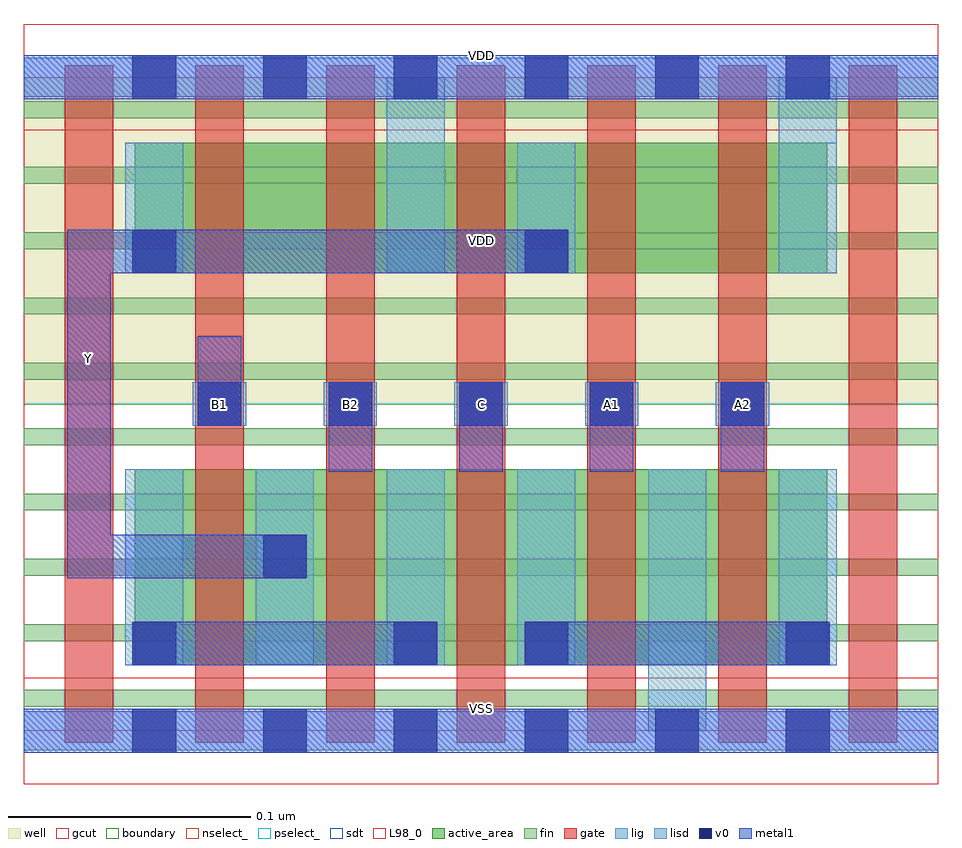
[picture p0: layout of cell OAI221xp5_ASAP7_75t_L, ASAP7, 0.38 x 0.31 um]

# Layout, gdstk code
import gdstk
lib = gdstk.Library(unit=1e-6, precision=2.5e-10)
def R(c, l, rs):  # rectangles x0, y0, x1, y1
    for r in rs: c.add(gdstk.rectangle(r[:2], r[2:], *l))
def A(c, l, x, y, w, h, nx, ny, dx, dy):  # array of equal rectangles
    R(c, l, [(x+i*dx, y+j*dy, x+i*dx+w, y+j*dy+h) for i in range(nx) for j in range(ny)])
def P(c, l, *ps):  # polygons
    for p in ps: c.add(gdstk.Polygon(p, *l))
well = (1, 0)
fin = (2, 0)
gate = (7, 0)
gcut = (10, 0)
active_area = (11, 0)
nselect_ = (12, 0)
pselect_ = (13, 0)
lig = (16, 0)
lisd = (17, 0)
v0 = (18, 0)
metal1 = (19, 0)
sdt = (88, 0)
L98_0 = (98, 0)
boundary = (100, 0)

oai221xp5_asap7_75t_l = lib.new_cell('OAI221xp5_ASAP7_75t_L')
R(oai221xp5_asap7_75t_l, well, [(0,0.135,0.378,0.27)])
A(oai221xp5_asap7_75t_l, fin, 0, 0.01, 0.378, 0.007, 1, 10, 0, 0.027)
A(oai221xp5_asap7_75t_l, gate, 0.017, -0.005, 0.02, 0.28, 7, 1, 0.054, 0)
R(oai221xp5_asap7_75t_l, gcut, [(0,-0.022,0.378,0.022), (0,0.248,0.378,0.292)])
R(oai221xp5_asap7_75t_l, active_area, [(0.046,0.027,0.332,0.108), (0.046,0.189,0.332,0.243)])
R(oai221xp5_asap7_75t_l, nselect_, [(0,0,0.378,0.135)])
R(oai221xp5_asap7_75t_l, pselect_, [(0,0.135,0.378,0.27)])
A(oai221xp5_asap7_75t_l, lig, 0.07, 0.126, 0.022, 0.018, 5, 1, 0.054, 0)
R(oai221xp5_asap7_75t_l, lig, [(0,-0.008,0.378,0.008), (0,0.262,0.378,0.278)])
A(oai221xp5_asap7_75t_l, lisd, 0.042, 0.027, 0.024, 0.081, 4, 1, 0.054, 0)
R(oai221xp5_asap7_75t_l, lisd, [(0.258,0,0.282,0.108), (0.258,0,0.282,0.108), (0.312,0.027,0.336,0.108), (0.042,0.189,0.066,0.243), (0.15,0.189,0.174,0.27), (0.15,0.189,0.174,0.27), (0.204,0.189,0.228,0.243), (0.312,0.189,0.336,0.27), (0.312,0.189,0.336,0.27)])
A(oai221xp5_asap7_75t_l, v0, 0.045, -0.009, 0.018, 0.018, 6, 2, 0.054, 0.27)
A(oai221xp5_asap7_75t_l, v0, 0.072, 0.126, 0.018, 0.018, 5, 1, 0.054, 0)
R(oai221xp5_asap7_75t_l, v0, [(0.045,0.027,0.063,0.045), (0.153,0.027,0.171,0.045), (0.207,0.027,0.225,0.045), (0.315,0.027,0.333,0.045), (0.099,0.063,0.117,0.081), (0.045,0.189,0.063,0.207), (0.207,0.189,0.225,0.207)])
A(oai221xp5_asap7_75t_l, metal1, 0.126, 0.107, 0.018, 0.037, 4, 1, 0.054, 0)
A(oai221xp5_asap7_75t_l, metal1, 0.072, 0.126, 0.018, 0.018, 5, 1, 0.054, 0)
R(oai221xp5_asap7_75t_l, metal1, [(0,-0.009,0.378,0.009), (0.045,0.027,0.063,0.045), (0.045,0.027,0.171,0.045), (0.153,0.027,0.171,0.045), (0.207,0.027,0.225,0.045), (0.207,0.027,0.333,0.045), (0.315,0.027,0.333,0.045), (0.099,0.063,0.117,0.081), (0.072,0.126,0.09,0.163), (0.045,0.189,0.063,0.207), (0.207,0.189,0.225,0.207), (0,0.261,0.378,0.279)])
P(oai221xp5_asap7_75t_l, metal1, [(0.225,0.207),(0.018,0.207),(0.018,0.063),(0.117,0.063),(0.117,0.081),(0.036,0.081),(0.036,0.189),(0.225,0.189)])
A(oai221xp5_asap7_75t_l, sdt, 0.042, 0.027, 0.024, 0.081, 5, 1, 0.054, 0)
R(oai221xp5_asap7_75t_l, sdt, [(0.258,0.027,0.282,0.108), (0.312,0.027,0.336,0.108), (0.042,0.189,0.066,0.243), (0.15,0.189,0.174,0.243), (0.15,0.189,0.174,0.243), (0.204,0.189,0.228,0.243), (0.312,0.189,0.336,0.243), (0.312,0.189,0.336,0.243)])
R(oai221xp5_asap7_75t_l, L98_0, [(0,0,0.378,0.27)])
R(oai221xp5_asap7_75t_l, boundary, [(0,0,0.378,0.27)])
oai221xp5_asap7_75t_l.add(gdstk.Label('VDD', (0.189,0.2025), layer=1, texttype=251))
oai221xp5_asap7_75t_l.add(gdstk.Label('VSS', (0.189,-0.0675), layer=3, texttype=251))
oai221xp5_asap7_75t_l.add(gdstk.Label('VSS', (0.189,0.009), layer=19, texttype=251))
oai221xp5_asap7_75t_l.add(gdstk.Label('VDD', (0.189,0.279), layer=19, texttype=251))
oai221xp5_asap7_75t_l.add(gdstk.Label('Y', (0.027,0.154), layer=19, texttype=251))
oai221xp5_asap7_75t_l.add(gdstk.Label('B1', (0.081,0.135), layer=19, texttype=251))
oai221xp5_asap7_75t_l.add(gdstk.Label('B2', (0.135,0.135), layer=19, texttype=251))
oai221xp5_asap7_75t_l.add(gdstk.Label('C', (0.189,0.135), layer=19, texttype=251))
oai221xp5_asap7_75t_l.add(gdstk.Label('A1', (0.243,0.135), layer=19, texttype=251))
oai221xp5_asap7_75t_l.add(gdstk.Label('A2', (0.297,0.135), layer=19, texttype=251))

lib.write_gds('OAI221xp5_ASAP7_75t_L.gds')
